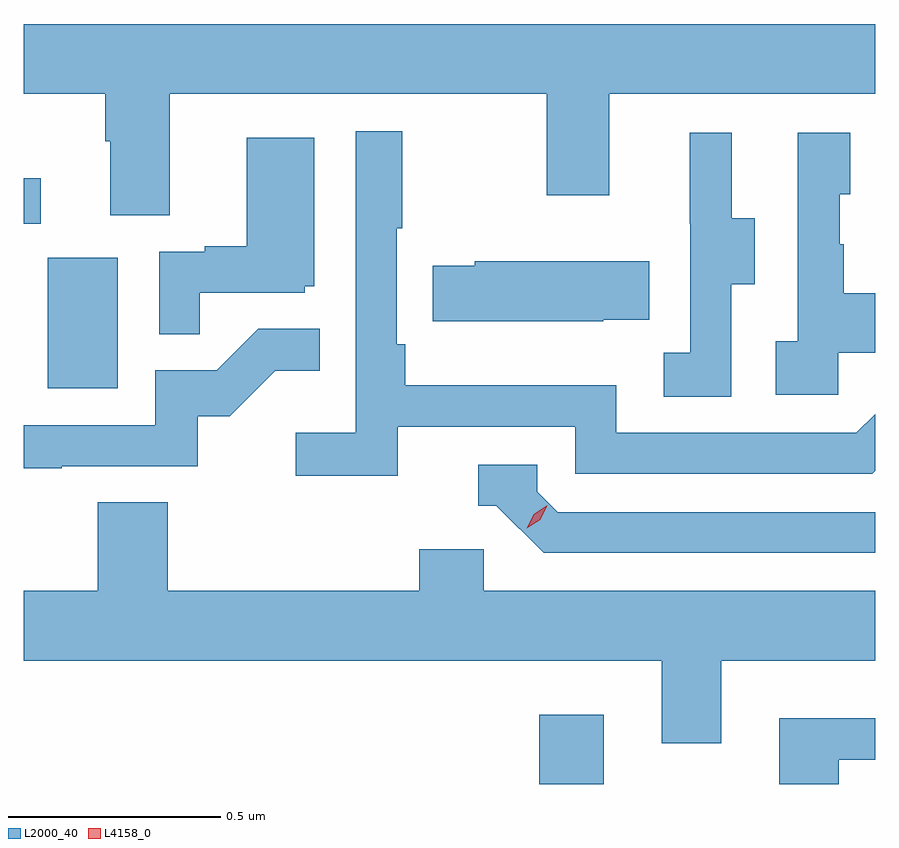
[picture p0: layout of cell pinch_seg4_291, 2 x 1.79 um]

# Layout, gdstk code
import gdstk
lib = gdstk.Library(unit=1e-6, precision=1e-09)
def R(c, l, rs):  # rectangles x0, y0, x1, y1
    for r in rs: c.add(gdstk.rectangle(r[:2], r[2:], *l))
def P(c, l, *ps):  # polygons
    for p in ps: c.add(gdstk.Polygon(p, *l))
L2000_40 = (2000, 40)
L4158_0 = (4158, 0)

pinch_seg4_291 = lib.new_cell('pinch_seg4_291')
R(pinch_seg4_291, L2000_40, [(946.583,807.186,946.735,807.349), (945.428,808.116,945.592,808.423), (945.372,808.503,945.412,808.609)])
P(pinch_seg4_291, L2000_40, [(945.715,808.808),(946.6,808.808),(946.6,808.569),(946.747,808.569),(946.747,808.808),(947.372,808.808),(947.372,808.972),(945.372,808.972),(945.372,808.808),(945.563,808.808),(945.563,808.696),(945.575,808.696),(945.575,808.522),(945.715,808.522)],
  [(946.25,808.026),(946.668,808.026),(946.668,807.915),(947.365,807.915),(947.372,807.922),(947.372,808.055),(947.328,808.011),(946.764,808.011),(946.764,808.123),(946.268,808.123),(946.268,808.219),(946.248,808.219),(946.248,808.492),(946.261,808.492),(946.261,808.72),(946.152,808.72),(946.152,808.012),(946.011,808.012),(946.011,807.91),(946.25,807.91)],
  [(947.286,808.199),(947.372,808.199),(947.372,808.339),(947.299,808.339),(947.299,808.454),(947.289,808.454),(947.289,808.572),(947.314,808.572),(947.314,808.717),(947.19,808.717),(947.19,808.226),(947.139,808.226),(947.139,808.101),(947.286,808.101)],
  [(947.034,808.36),(947.089,808.36),(947.089,808.515),(947.035,808.515),(947.035,808.717),(946.937,808.717),(946.937,808.503),(946.938,808.503),(946.938,808.199),(946.875,808.199),(946.875,808.096),(947.034,808.096)],
  [(945.785,808.341),(946.032,808.341),(946.032,808.356),(946.054,808.356),(946.054,808.705),(945.896,808.705),(945.896,808.45),(945.797,808.45),(945.797,808.437),(945.69,808.437),(945.69,808.243),(945.785,808.243)],
  [(946.733,808.277),(946.841,808.277),(946.841,808.414),(946.431,808.414),(946.431,808.404),(946.333,808.404),(946.333,808.274),(946.733,808.274)],
  [(945.461,807.933),(945.78,807.933),(945.78,808.05),(945.856,808.05),(945.963,808.157),(946.067,808.157),(946.067,808.256),(945.923,808.256),(945.825,808.158),(945.681,808.158),(945.681,808.029),(945.372,808.029),(945.372,807.928),(945.461,807.928)],
  [(947.372,807.825),(946.626,807.825),(946.578,807.873),(946.578,807.936),(946.439,807.936),(946.439,807.84),(946.482,807.84),(946.593,807.729),(947.372,807.729)],
  [(947.011,807.476),(947.372,807.476),(947.372,807.64),(946.452,807.64),(946.452,807.738),(946.301,807.738),(946.301,807.64),(945.71,807.64),(945.71,807.848),(945.545,807.848),(945.545,807.64),(945.372,807.64),(945.372,807.476),(946.871,807.476),(946.871,807.282),(947.011,807.282)],
  [(947.287,807.243),(947.372,807.243),(947.372,807.34),(947.147,807.34),(947.147,807.186),(947.287,807.186)])
P(pinch_seg4_291, L4158_0, [(946.554,807.787),(946.554,807.787),(946.57,807.82),(946.601,807.84),(946.602,807.84),(946.602,807.84),(946.585,807.807),(946.554,807.787)])

lib.write_gds('pinch_seg4_291.gds')
